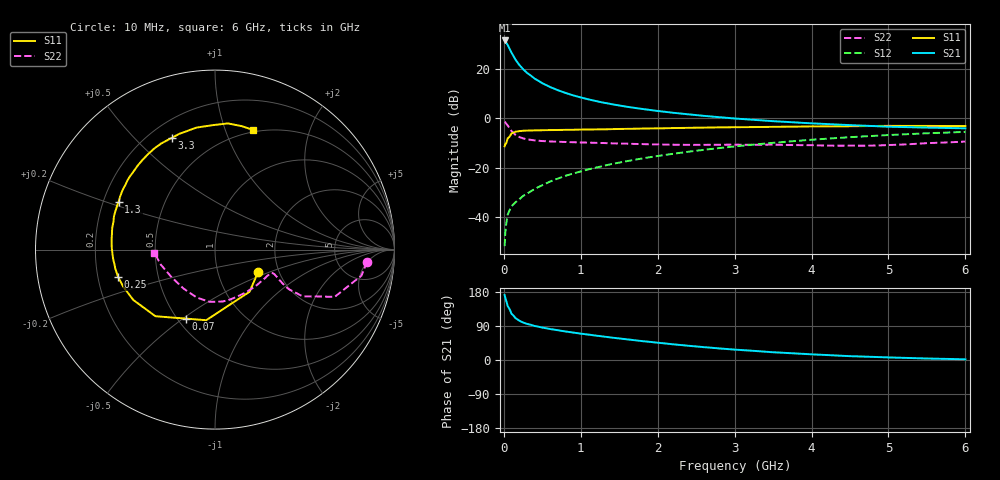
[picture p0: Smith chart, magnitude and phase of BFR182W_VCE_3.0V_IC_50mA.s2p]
! Infineon Technologies  Discrete & RF Semiconductors
! BFR182W
! VCE =  3.0 V,  IC =  50 mA
! Common Emitter S-Parameters:  Jan 2017
# GHz  S  MA  R  50
!  f  S11  S21  S12  S22
! GHz  MAG  ANG  MAG  ANG  MAG  ANG  MAG  ANG
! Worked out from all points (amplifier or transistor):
!   77 points, 10 MHz to 6 GHz, reference 50 ohm
!   highest |S21| = 31.8 dB at 10 MHz (marker M1)
!   |S21| within 3 dB of that: start of sweep to 68.59 MHz
!   unconditionally stable (mu >= 1): start of sweep to 14.23 MHz; 246 MHz to 2.759 GHz; 5.766 GHz to end of sweep
!   at 130 MHz: K = 0.75, MSG = 30.0 dB, |S12| = -34.8 dB
!   at 2.2 GHz: K = 1.07, MAG = 6.7 dB, |S12| = -14.4 dB
!   at 6 GHz: K = 1.01, MAG = 0.2 dB, |S12| = -5.5 dB
!   S11 on the Smith chart (normalised r, x): 10 MHz: 1.56, -0.42; 70 MHz: 0.55, -0.51; 250 MHz: 0.29, -0.13; 1.3 GHz: 0.26, +0.22; 3.3 GHz: 0.29, +0.65; 6 GHz: 0.48, +1.25
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0.01  0.2706 -27.4  38.73 171.3  0.0025 66.9  0.8502 -4.6
0.02  0.3037 -50.6  37.94 163.2  0.0049 78.3  0.8289 -10.1
0.05  0.3965 -97.1  31.39 142.3  0.0109 62.9  0.7174 -21.5
0.07  0.4173 -112.9  27.13 135.8  0.013 60.2  0.6505 -23.7
0.1  0.4979 -131.8  21.7 121.7  0.0162 57.5  0.5525 -28.1
0.15  0.5346 -148.3  15.88 110.7  0.0195 56.6  0.4643 -28.2
0.2  0.5509 -157.8  12.36 103.9  0.0225 59.4  0.4189 -26.5
0.25  0.5609 -164.2  10.1 98.9  0.0264 61.7  0.392 -24.9
0.3  0.5653 -169.0  8.493 95.4  0.0292 64.2  0.3749 -23.7
0.4  0.5706 -175.7  6.473 89.8  0.0364 67.3  0.3572 -22.4
0.5  0.5751 179.1  5.211 85.6  0.0436 70.0  0.3462 -22.2
0.6  0.5786 174.6  4.376 81.8  0.0517 70.9  0.3397 -22.6
0.7  0.581 171.3  3.766 78.6  0.0593 72.9  0.3349 -23.4
0.9  0.5865 164.7  2.951 72.4  0.0752 74.3  0.3276 -26.1
1.1  0.5948 158.9  2.447 67.0  0.0917 74.5  0.3217 -29.4
1.3  0.5997 153.5  2.089 61.8  0.1083 74.3  0.3152 -33.3
2.1  0.6313 134.8  1.36 43.6  0.1808 70.3  0.2929 -54.2
3.1  0.6637 115.0  0.972 26.1  0.2784 61.3  0.2908 -84.7
3.3  0.6676 111.1  0.925 23.4  0.2982 59.2  0.2904 -90.4
4.1  0.6878 97.1  0.781 14.0  0.3771 50.2  0.282 -114.6
5.1  0.7054 82.9  0.672 6.2  0.4662 38.0  0.2904 -151.7
6  0.6995 72.3  0.628 1.8  0.5324 27.1  0.338 -177.1
